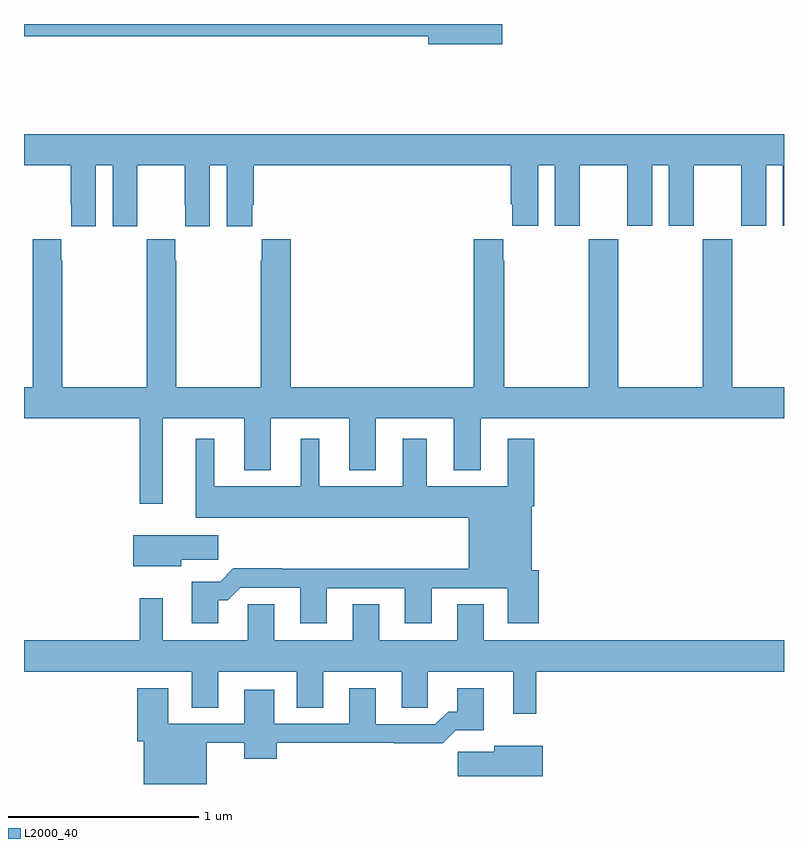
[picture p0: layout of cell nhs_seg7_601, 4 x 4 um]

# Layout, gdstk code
import gdstk
lib = gdstk.Library(unit=1e-6, precision=1e-09)
def P(c, l, *ps):  # polygons
    for p in ps: c.add(gdstk.Polygon(p, *l))
L2000_40 = (2000, 40)

nhs_seg7_601 = lib.new_cell('nhs_seg7_601')
P(nhs_seg7_601, L2000_40, [(159.517,1028),(157,1028),(157,1027.936),(159.128,1027.936),(159.128,1027.894),(159.517,1027.894)],
  [(157.378,1027.256),(157.466,1027.256),(157.466,1026.936),(157.596,1026.936),(157.596,1027.048),(157.597,1027.048),(157.597,1027.256),(157.847,1027.256),(157.847,1027.048),(157.848,1027.048),(157.848,1026.936),(157.978,1026.936),(157.978,1027.256),(158.066,1027.256),(158.066,1026.936),(158.2,1026.936),(158.2,1027.048),(158.21,1027.048),(158.21,1027.256),(159.563,1027.256),(159.563,1027.051),(159.569,1027.051),(159.569,1026.939),(159.706,1026.939),(159.706,1027.256),(159.794,1027.256),(159.794,1026.939),(159.925,1026.939),(159.925,1027.256),(160.175,1027.256),(160.175,1026.939),(160.306,1026.939),(160.306,1027.256),(160.394,1027.256),(160.394,1026.939),(160.525,1026.939),(160.525,1027.256),(160.775,1027.256),(160.775,1026.939),(160.906,1026.939),(160.906,1027.256),(160.994,1027.256),(160.994,1026.939),(161,1026.939),(161,1027.42),(157,1027.42),(157,1027.256),(157.247,1027.256),(157.247,1027.048),(157.248,1027.048),(157.248,1026.936),(157.378,1026.936)],
  [(157.729,1025.924),(158.159,1025.924),(158.159,1025.651),(158.299,1025.651),(158.299,1025.924),(158.711,1025.924),(158.711,1025.651),(158.851,1025.651),(158.851,1025.924),(159.263,1025.924),(159.263,1025.651),(159.403,1025.651),(159.403,1025.924),(161,1025.924),(161,1026.088),(160.728,1026.088),(160.728,1026.868),(160.573,1026.868),(160.573,1026.088),(160.128,1026.088),(160.128,1026.868),(159.973,1026.868),(159.973,1026.088),(159.528,1026.088),(159.528,1026.755),(159.523,1026.755),(159.523,1026.868),(159.368,1026.868),(159.368,1026.088),(158.405,1026.088),(158.405,1026.868),(158.251,1026.868),(158.251,1026.755),(158.245,1026.755),(158.245,1026.088),(157.8,1026.088),(157.8,1026.755),(157.797,1026.755),(157.797,1026.868),(157.647,1026.868),(157.647,1026.755),(157.645,1026.755),(157.645,1026.088),(157.2,1026.088),(157.2,1026.755),(157.197,1026.755),(157.197,1026.868),(157.047,1026.868),(157.047,1026.755),(157.045,1026.755),(157.045,1026.088),(157,1026.088),(157,1025.924),(157.608,1025.924),(157.608,1025.475),(157.729,1025.475)],
  [(158.023,1024.967),(158.072,1024.967),(158.139,1025.034),(158.453,1025.034),(158.453,1024.845),(158.593,1024.845),(158.593,1025.031),(159.005,1025.031),(159.005,1024.845),(159.145,1024.845),(159.145,1025.031),(159.545,1025.031),(159.545,1024.845),(159.71,1024.845),(159.71,1025.124),(159.673,1025.124),(159.673,1025.462),(159.686,1025.462),(159.686,1025.818),(159.545,1025.818),(159.545,1025.566),(159.121,1025.566),(159.121,1025.818),(158.993,1025.818),(158.993,1025.566),(158.554,1025.566),(158.554,1025.818),(158.456,1025.818),(158.456,1025.566),(158.002,1025.566),(158.002,1025.818),(157.904,1025.818),(157.904,1025.402),(159.341,1025.402),(159.341,1025.132),(158.357,1025.132),(158.357,1025.135),(158.102,1025.135),(158.032,1025.065),(157.883,1025.065),(157.883,1024.845),(158.023,1024.845)],
  [(157.828,1025.179),(158.023,1025.179),(158.023,1025.308),(157.574,1025.308),(157.574,1025.147),(157.828,1025.147)],
  [(159.697,1024.592),(161,1024.592),(161,1024.756),(159.421,1024.756),(159.421,1024.946),(159.281,1024.946),(159.281,1024.756),(158.869,1024.756),(158.869,1024.946),(158.729,1024.946),(158.729,1024.756),(158.317,1024.756),(158.317,1024.946),(158.178,1024.946),(158.178,1024.756),(157.729,1024.756),(157.729,1024.978),(157.608,1024.978),(157.608,1024.756),(157,1024.756),(157,1024.592),(157.883,1024.592),(157.883,1024.402),(158.023,1024.402),(158.023,1024.592),(158.435,1024.592),(158.435,1024.402),(158.575,1024.402),(158.575,1024.592),(158.987,1024.592),(158.987,1024.402),(159.126,1024.402),(159.126,1024.592),(159.575,1024.592),(159.575,1024.371),(159.697,1024.371)],
  [(157.963,1024.216),(158.159,1024.216),(158.159,1024.133),(158.33,1024.133),(158.33,1024.216),(158.947,1024.216),(158.947,1024.214),(159.203,1024.214),(159.272,1024.283),(159.421,1024.283),(159.421,1024.504),(159.281,1024.504),(159.281,1024.381),(159.232,1024.381),(159.165,1024.314),(158.851,1024.314),(158.851,1024.504),(158.711,1024.504),(158.711,1024.317),(158.317,1024.317),(158.317,1024.495),(158.159,1024.495),(158.159,1024.317),(157.759,1024.317),(157.759,1024.504),(157.595,1024.504),(157.595,1024.224),(157.631,1024.224),(157.631,1024),(157.963,1024)],
  [(159.73,1024.201),(159.476,1024.201),(159.476,1024.169),(159.282,1024.169),(159.282,1024.04),(159.73,1024.04)])

lib.write_gds('nhs_seg7_601.gds')
